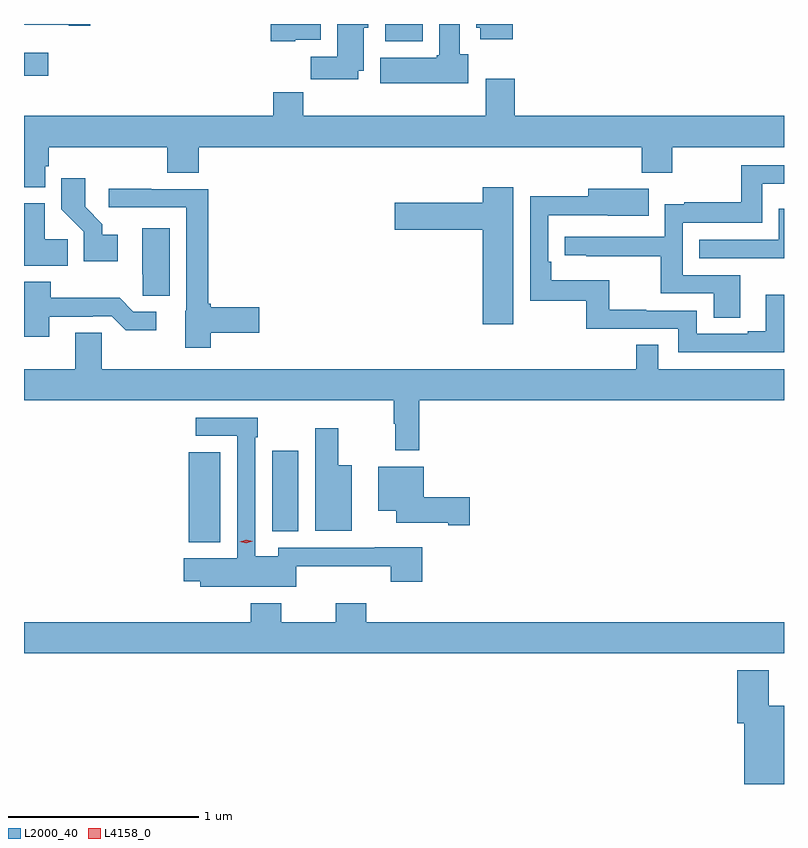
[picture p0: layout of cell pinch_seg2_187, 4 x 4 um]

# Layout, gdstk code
import gdstk
lib = gdstk.Library(unit=1e-6, precision=1e-09)
def R(c, l, rs):  # rectangles x0, y0, x1, y1
    for r in rs: c.add(gdstk.rectangle(r[:2], r[2:], *l))
def P(c, l, *ps):  # polygons
    for p in ps: c.add(gdstk.Polygon(p, *l))
L2000_40 = (2000, 40)
L4158_0 = (4158, 0)

pinch_seg2_187 = lib.new_cell('pinch_seg2_187')
R(pinch_seg2_187, L2000_40, [(986.318,662.873,986.485,663.347), (986.759,662.929,986.896,663.355), (985.452,665.327,985.579,665.449), (987.353,665.51,987.55,665.6)])
P(pinch_seg2_187, L2000_40, [(987.211,665.354),(987.241,665.354),(987.241,665.58),(987.265,665.58),(987.265,665.6),(987.101,665.6),(987.101,665.428),(986.962,665.428),(986.962,665.31),(987.211,665.31)],
  [(985.801,665.6),(985.452,665.6),(985.452,665.597),(985.688,665.597),(985.688,665.59),(985.801,665.59)],
  [(987.79,665.442),(987.745,665.442),(987.745,665.6),(987.638,665.6),(987.638,665.436),(987.625,665.436),(987.625,665.422),(987.326,665.422),(987.326,665.288),(987.79,665.288)],
  [(988.025,665.6),(987.833,665.6),(987.833,665.58),(987.854,665.58),(987.854,665.52),(988.025,665.52)],
  [(986.88,665.516),(987.013,665.516),(987.013,665.6),(986.75,665.6),(986.75,665.51),(986.88,665.51)],
  [(985.563,664.851),(985.583,664.851),(985.583,664.952),(986.207,664.952),(986.207,664.816),(986.372,664.816),(986.372,664.952),(988.703,664.952),(988.703,664.817),(988.863,664.817),(988.863,664.952),(989.452,664.952),(989.452,665.116),(988.034,665.116),(988.034,665.311),(987.881,665.311),(987.881,665.116),(986.921,665.116),(986.921,665.24),(986.765,665.24),(986.765,665.116),(985.452,665.116),(985.452,664.742),(985.563,664.742)],
  [(989.221,664.278),(988.92,664.278),(988.92,664.554),(989.337,664.554),(989.337,664.76),(989.452,664.76),(989.452,664.857),(989.226,664.857),(989.226,664.663),(988.927,664.663),(988.927,664.651),(988.824,664.651),(988.824,664.479),(988.299,664.479),(988.299,664.383),(988.411,664.383),(988.411,664.378),(988.804,664.378),(988.804,664.182),(989.081,664.182),(989.081,664.054),(989.221,664.054)],
  [(985.945,664.492),(985.864,664.492),(985.864,664.547),(985.774,664.637),(985.774,664.789),(985.648,664.789),(985.648,664.626),(985.767,664.507),(985.767,664.352),(985.945,664.352)],
  [(988.027,664.741),(987.866,664.741),(987.866,664.659),(987.402,664.659),(987.402,664.517),(987.866,664.517),(987.866,664.02),(988.027,664.02)],
  [(986.436,663.974),(986.689,663.974),(986.689,664.109),(986.436,664.109),(986.436,664.127),(986.423,664.127),(986.423,664.731),(986.123,664.731),(986.123,664.734),(985.899,664.734),(985.899,664.635),(986.307,664.635),(986.307,664.092),(986.3,664.092),(986.3,663.896),(986.436,663.896)],
  [(989.452,664.175),(989.357,664.175),(989.357,663.982),(989.261,663.982),(989.261,663.969),(988.992,663.969),(988.992,664.092),(988.727,664.092),(988.727,664.097),(988.531,664.097),(988.531,664.252),(988.226,664.252),(988.226,664.348),(988.212,664.348),(988.212,664.593),(988.525,664.593),(988.525,664.592),(988.739,664.592),(988.739,664.732),(988.421,664.732),(988.421,664.694),(988.116,664.694),(988.116,664.143),(988.41,664.143),(988.41,663.996),(988.896,663.996),(988.896,663.873),(989.452,663.873)],
  [(985.682,664.466),(985.561,664.466),(985.561,664.657),(985.452,664.657),(985.452,664.328),(985.682,664.328)],
  [(989.452,664.627),(989.424,664.627),(989.424,664.464),(989.005,664.464),(989.005,664.368),(989.452,664.368)],
  [(986.218,664.525),(986.075,664.525),(986.075,664.282),(986.076,664.282),(986.076,664.171),(986.218,664.171)],
  [(985.585,664.059),(985.814,664.059),(985.814,664.062),(985.914,664.062),(985.987,663.989),(986.149,663.989),(986.149,664.086),(986.028,664.086),(985.955,664.159),(985.593,664.159),(985.593,664.243),(985.452,664.243),(985.452,663.954),(985.585,663.954)],
  [(987.533,663.62),(989.452,663.62),(989.452,663.784),(988.791,663.784),(988.791,663.911),(988.675,663.911),(988.675,663.784),(985.86,663.784),(985.86,663.974),(985.721,663.974),(985.721,663.784),(985.452,663.784),(985.452,663.62),(987.397,663.62),(987.397,663.497),(987.405,663.497),(987.405,663.357),(987.533,663.357)],
  [(986.886,662.747),(987.383,662.747),(987.383,662.664),(987.548,662.664),(987.548,662.845),(987.299,662.845),(987.299,662.844),(986.79,662.844),(986.79,662.8),(986.67,662.8),(986.67,663.425),(986.683,663.425),(986.683,663.528),(986.355,663.528),(986.355,663.432),(986.574,663.432),(986.574,662.788),(986.292,662.788),(986.292,662.666),(986.379,662.666),(986.379,662.639),(986.886,662.639)],
  [(987.178,663.277),(987.106,663.277),(987.106,663.472),(986.984,663.472),(986.984,662.933),(987.178,662.933)],
  [(987.799,663.11),(987.556,663.11),(987.556,663.271),(987.317,663.271),(987.317,663.038),(987.41,663.038),(987.41,662.975),(987.686,662.975),(987.686,662.963),(987.799,662.963)],
  [(989.452,662.452),(987.254,662.452),(987.254,662.551),(987.094,662.551),(987.094,662.452),(986.805,662.452),(986.805,662.551),(986.645,662.551),(986.645,662.452),(985.452,662.452),(985.452,662.288),(989.452,662.288)],
  [(989.452,662.013),(989.371,662.013),(989.371,662.2),(989.207,662.2),(989.207,661.92),(989.243,661.92),(989.243,661.6),(989.452,661.6)])
P(pinch_seg2_187, L4158_0, [(986.622,662.866),(986.587,662.876),(986.587,662.876),(986.587,662.876),(986.622,662.886),(986.657,662.877),(986.657,662.877),(986.657,662.877)])

lib.write_gds('pinch_seg2_187.gds')
